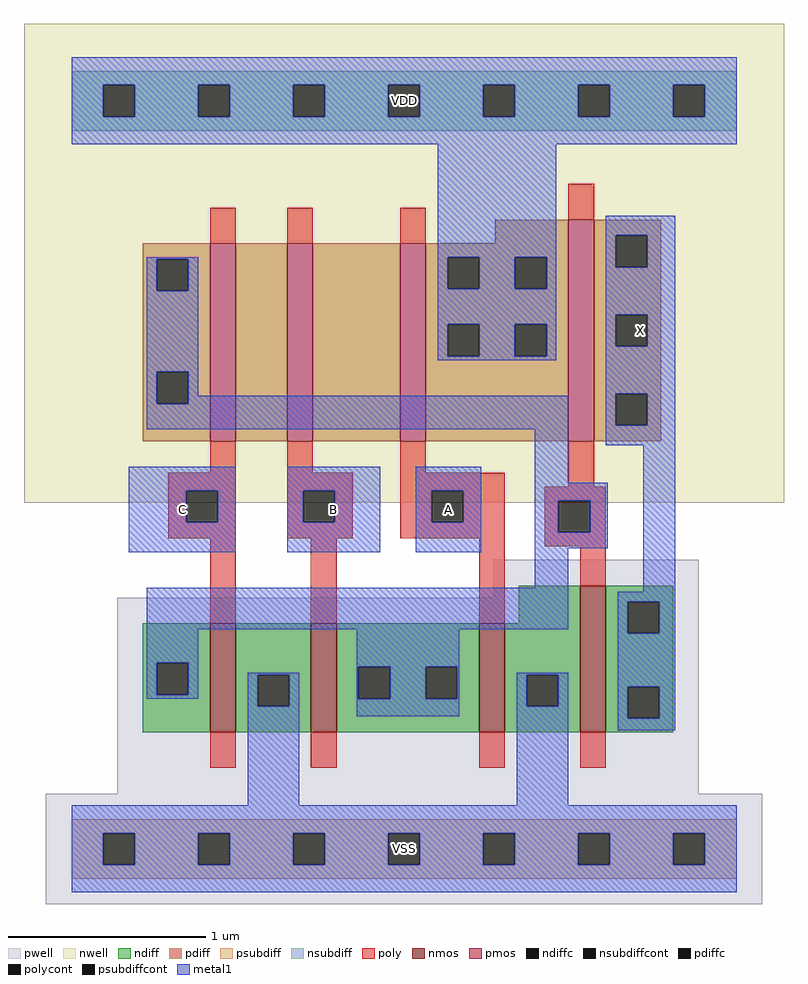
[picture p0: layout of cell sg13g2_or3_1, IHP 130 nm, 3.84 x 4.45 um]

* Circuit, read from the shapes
.subckt sg13g2_or3_1 VDD VSS C B A X
XM1 VSS C n1 VSS sg13_lv_nmos w=0.55u l=0.13u
XM2 n1 B VSS VSS sg13_lv_nmos w=0.55u l=0.13u
XM3 VSS A n1 VSS sg13_lv_nmos w=0.55u l=0.13u
XM4 X n1 VSS VSS sg13_lv_nmos w=0.74u l=0.13u
XM5 n2 C n1 VDD sg13_lv_pmos w=1u l=0.13u
XM6 n3 B n2 VDD sg13_lv_pmos w=1u l=0.13u
XM7 VDD A n3 VDD sg13_lv_pmos w=1u l=0.13u
XM8 X n1 VDD VDD sg13_lv_pmos w=1.12u l=0.13u
.ends

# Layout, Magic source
magic
tech ihp-sg13g2
<< nwell >>
rect -24 175 360 417
<< pwell >>
rect 213 127 317 146
rect 23 28 317 127
rect -13 -28 349 28
<< nmos >>
rect 70 59 83 114
rect 121 59 134 114
rect 206 59 219 114
rect 257 59 270 133
<< pmos >>
rect 70 206 83 306
rect 109 206 122 306
rect 166 206 179 306
rect 251 206 264 318
<< ndiff >>
rect 226 114 257 133
rect 36 94 70 114
rect 36 78 43 94
rect 59 78 70 94
rect 36 59 70 78
rect 83 88 121 114
rect 83 72 94 88
rect 110 72 121 88
rect 83 59 121 72
rect 134 92 206 114
rect 134 76 145 92
rect 161 76 179 92
rect 195 76 206 92
rect 134 59 206 76
rect 219 88 257 114
rect 219 72 230 88
rect 246 72 257 88
rect 219 59 257 72
rect 270 125 304 133
rect 270 109 281 125
rect 297 109 304 125
rect 270 82 304 109
rect 270 66 281 82
rect 297 66 304 82
rect 270 59 304 66
<< pdiff >>
rect 214 306 251 318
rect 36 298 70 306
rect 36 282 43 298
rect 59 282 70 298
rect 36 241 70 282
rect 36 225 43 241
rect 59 225 70 241
rect 36 206 70 225
rect 83 206 109 306
rect 122 206 166 306
rect 179 299 251 306
rect 179 283 190 299
rect 206 283 224 299
rect 240 283 251 299
rect 179 265 251 283
rect 179 249 190 265
rect 206 249 224 265
rect 240 249 251 265
rect 179 206 251 249
rect 264 310 298 318
rect 264 294 275 310
rect 291 294 298 310
rect 264 270 298 294
rect 264 254 275 270
rect 291 254 298 270
rect 264 230 298 254
rect 264 214 275 230
rect 291 214 298 230
rect 264 206 298 214
<< ndiffc >>
rect 43 78 59 94
rect 94 72 110 88
rect 145 76 161 92
rect 179 76 195 92
rect 230 72 246 88
rect 281 109 297 125
rect 281 66 297 82
<< pdiffc >>
rect 43 282 59 298
rect 43 225 59 241
rect 190 283 206 299
rect 224 283 240 299
rect 190 249 206 265
rect 224 249 240 265
rect 275 294 291 310
rect 275 254 291 270
rect 275 214 291 230
<< psubdiff >>
rect 0 8 336 15
rect 0 -8 16 8
rect 32 -8 64 8
rect 80 -8 112 8
rect 128 -8 160 8
rect 176 -8 208 8
rect 224 -8 256 8
rect 272 -8 304 8
rect 320 -8 336 8
rect 0 -15 336 -8
<< nsubdiff >>
rect 0 386 336 393
rect 0 370 16 386
rect 32 370 64 386
rect 80 370 112 386
rect 128 370 160 386
rect 176 370 208 386
rect 224 370 256 386
rect 272 370 304 386
rect 320 370 336 386
rect 0 363 336 370
<< psubdiffcont >>
rect 16 -8 32 8
rect 64 -8 80 8
rect 112 -8 128 8
rect 160 -8 176 8
rect 208 -8 224 8
rect 256 -8 272 8
rect 304 -8 320 8
<< nsubdiffcont >>
rect 16 370 32 386
rect 64 370 80 386
rect 112 370 128 386
rect 160 370 176 386
rect 208 370 224 386
rect 256 370 272 386
rect 304 370 320 386
<< poly >>
rect 70 306 83 324
rect 109 306 122 324
rect 166 306 179 324
rect 251 318 264 336
rect 70 190 83 206
rect 49 181 83 190
rect 49 165 58 181
rect 74 165 83 181
rect 49 157 83 165
rect 109 190 122 206
rect 166 190 179 206
rect 109 181 142 190
rect 109 165 117 181
rect 133 165 142 181
rect 109 157 142 165
rect 166 181 219 190
rect 251 183 264 206
rect 166 165 182 181
rect 198 165 219 181
rect 166 157 219 165
rect 70 114 83 157
rect 121 114 134 157
rect 206 114 219 157
rect 239 176 270 183
rect 239 160 246 176
rect 262 160 270 176
rect 239 153 270 160
rect 257 133 270 153
rect 70 41 83 59
rect 121 41 134 59
rect 206 41 219 59
rect 257 41 270 59
<< polycont >>
rect 58 165 74 181
rect 117 165 133 181
rect 182 165 198 181
rect 246 160 262 176
<< metal1 >>
rect 0 386 336 400
rect 0 370 16 386
rect 32 370 64 386
rect 80 370 112 386
rect 128 370 160 386
rect 176 370 208 386
rect 224 370 256 386
rect 272 370 304 386
rect 320 370 336 386
rect 0 356 336 370
rect 185 299 245 356
rect 38 298 64 299
rect 38 282 43 298
rect 59 282 64 298
rect 38 241 64 282
rect 185 283 190 299
rect 206 283 224 299
rect 240 283 245 299
rect 185 265 245 283
rect 185 249 190 265
rect 206 249 224 265
rect 240 249 245 265
rect 185 247 245 249
rect 270 310 305 320
rect 270 294 275 310
rect 291 294 305 310
rect 270 270 305 294
rect 270 254 275 270
rect 291 254 305 270
rect 38 225 43 241
rect 59 229 64 241
rect 270 230 305 254
rect 59 225 251 229
rect 38 212 251 225
rect 29 181 83 193
rect 29 165 58 181
rect 74 165 83 181
rect 29 150 83 165
rect 109 181 156 193
rect 109 165 117 181
rect 133 165 156 181
rect 109 150 156 165
rect 174 181 207 193
rect 174 165 182 181
rect 198 165 207 181
rect 174 150 207 165
rect 234 185 251 212
rect 270 214 275 230
rect 291 214 305 230
rect 270 204 305 214
rect 234 176 271 185
rect 234 160 246 176
rect 262 160 271 176
rect 234 152 271 160
rect 234 132 251 152
rect 38 111 251 132
rect 289 130 305 204
rect 276 125 305 130
rect 38 94 64 111
rect 38 78 43 94
rect 59 78 64 94
rect 144 92 196 111
rect 38 76 64 78
rect 89 88 115 89
rect 89 72 94 88
rect 110 72 115 88
rect 89 22 115 72
rect 144 76 145 92
rect 161 76 179 92
rect 195 76 196 92
rect 276 109 281 125
rect 297 109 305 125
rect 144 67 196 76
rect 225 88 251 89
rect 225 72 230 88
rect 246 72 251 88
rect 225 22 251 72
rect 276 82 305 109
rect 276 66 281 82
rect 297 66 305 82
rect 276 60 305 66
rect 0 8 336 22
rect 0 -8 16 8
rect 32 -8 64 8
rect 80 -8 112 8
rect 128 -8 160 8
rect 176 -8 208 8
rect 224 -8 256 8
rect 272 -8 304 8
rect 320 -8 336 8
rect 0 -22 336 -8
<< labels >>
flabel metal1 s 0 356 336 400 0 FreeSans 200 0 0 0 VDD
port 2 nsew
flabel metal1 s 0 -22 336 22 0 FreeSans 200 0 0 0 VSS
port 3 nsew
flabel metal1 s 29 150 83 193 0 FreeSans 200 0 0 0 C
port 4 nsew
flabel metal1 s 109 150 156 193 0 FreeSans 200 0 0 0 B
port 5 nsew
flabel metal1 s 174 150 207 193 0 FreeSans 200 0 0 0 A
port 6 nsew
flabel metal1 s 270 204 305 320 0 FreeSans 200 0 0 0 X
port 7 nsew
<< properties >>
string FIXED_BBOX 0 0 336 378
string GDS_END 128346
string GDS_FILE ../gds/controller.gds
string GDS_START 122822
<< end >>
